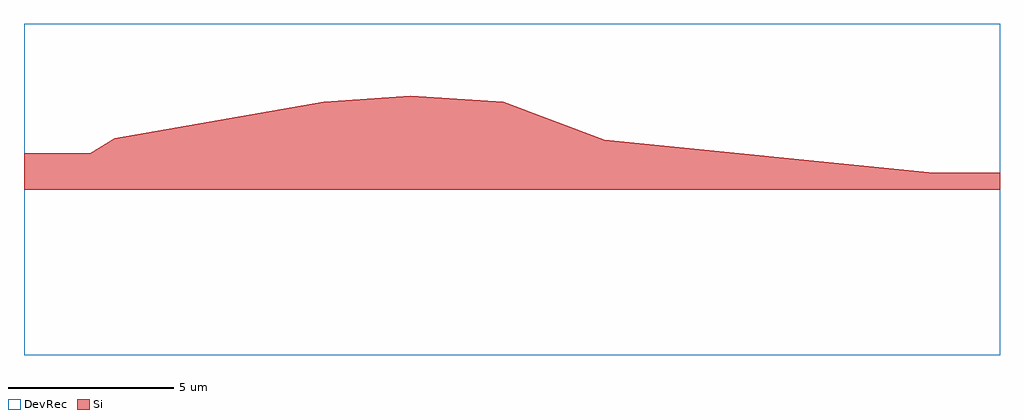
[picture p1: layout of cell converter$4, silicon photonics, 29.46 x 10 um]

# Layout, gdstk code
import gdstk
lib = gdstk.Library(unit=1e-6, precision=1e-09)
def R(c, l, rs):  # rectangles x0, y0, x1, y1
    for r in rs: c.add(gdstk.rectangle(r[:2], r[2:], *l))
def P(c, l, *ps):  # polygons
    for p in ps: c.add(gdstk.Polygon(p, *l))
Si = (1, 0)
DevRec = (68, 0)

out_4 = lib.new_cell('out$4')
R(out_4, Si, [(25.464,0,27.464,0.5)])

taper6_4 = lib.new_cell('taper6$4')
P(taper6_4, Si, [(15.518,0),(15.518,1.5),(25.464,0.5),(25.464,0)])

taper5_4 = lib.new_cell('taper5$4')
P(taper5_4, Si, [(12.464,0),(12.464,2.653),(15.518,1.5),(15.518,0)])

taper4_4 = lib.new_cell('taper4$4')
P(taper4_4, Si, [(9.668,0),(9.668,2.828),(12.464,2.653),(12.464,0)])

taper3_4 = lib.new_cell('taper3$4')
P(taper3_4, Si, [(7.051,0),(7.051,2.653),(9.668,2.828),(9.668,0)])

taper2_4 = lib.new_cell('taper2$4')
P(taper2_4, Si, [(0.735,0),(0.735,1.55),(7.051,2.653),(7.051,0)])

taper1_4 = lib.new_cell('taper1$4')
P(taper1_4, Si, [(0,0),(0,1.1),(0.735,1.55),(0.735,0)])

in_4 = lib.new_cell('in$4')
R(in_4, Si, [(-2,0,0,1.1)])

converter_4 = lib.new_cell('converter$4')
R(converter_4, DevRec, [(-2,-5,27.464,5)])
converter_4.add(gdstk.Reference(out_4, (0,0)))
converter_4.add(gdstk.Reference(taper6_4, (0,0)))
converter_4.add(gdstk.Reference(taper5_4, (0,0)))
converter_4.add(gdstk.Reference(taper4_4, (0,0)))
converter_4.add(gdstk.Reference(taper3_4, (0,0)))
converter_4.add(gdstk.Reference(taper2_4, (0,0)))
converter_4.add(gdstk.Reference(taper1_4, (0,0)))
converter_4.add(gdstk.Reference(in_4, (0,0)))

lib.write_gds('converter_4.gds')
